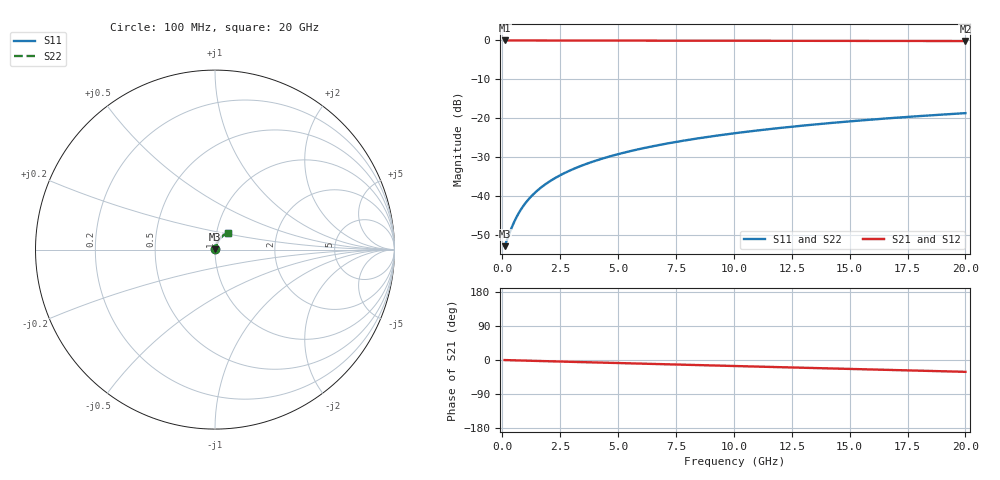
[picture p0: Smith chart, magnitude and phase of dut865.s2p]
! Touchstone file exported from HFSS 2026.1.0
!  File:  C:/ffzhzh/LocalFiles/Ansys_Project_Files/temp_train_TMRDL_865_1783157233_55132.aedt
!  Generated:  05:28:19 PM Jul  4, 2026
!  Design:  TMRDL
!  Project:  temp_train_TMRDL_865_1783157233_55132
! Variables:
!  h_bsmrdl = 2um
!  h_ox = 20um
!  h_rdl = 5um
!  h_sub = 80um
!  h_tmrdl = 4.82um
!  h_tsv = 80um
!  h_via = 3um
!  l_bsmrdl = 300um
!  l_sub = 938.28um
!  l_tmrdl = 538.28um
!  m_sub = 200um
!  pitch = 30.83um
!  r_tsv = 6um
!  s_tmrdl = 10um
!  w_bsmrdl = 18um
!  w_sub = 500um
!  w_tmrdl = 21.97um
!  x_tsv_center1 = 549.265um
!  x_tsv_center2 = 867.265um
!  x_tsv_center3 = 1427.515um
!  x_tsv_center4 = 1745.515um
!  x_tsv_center5 = 2305.765um
!  x_tsv_center6 = 2623.765um
# GHz S MA R 50.000000
! Terminal data exported
! Port[1] = TM_RDL1_1_T1
! Port[2] = TM_RDL1_1_T2
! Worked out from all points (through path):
!   200 points, 100 MHz to 20 GHz, reference 50 ohm
!   highest |S21| = -0.02 dB at 100 MHz (marker M1); lowest = -0.2 dB at 20 GHz (marker M2)
!   group delay of S21, straight-line fit = 4.32 ps
!   lowest |S11| = -52.9 dB at 100 MHz (marker M3), VSWR 1.00, Z = 50.2 + j0.104 ohm
!   |S11| at or under -10 dB: start of sweep to end of sweep
!   |S22| runs from -52.9 to -18.7 dB; largest |S21 - S12| = 4.4e-15
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0.1  0.002275 27.0  0.998 -0.2  0.998 -0.2  0.002275 27.0
! Gamma 0 0 0 0
! Port Impedance 50 0 50 0
0.4  0.003905 54.6  0.9974 -0.7  0.9974 -0.7  0.003896 55.2
0.5  0.004573 59.4  0.9973 -0.8  0.9973 -0.8  0.004573 59.8
0.7  0.005978 65.3  0.9972 -1.2  0.9972 -1.2  0.005992 65.6
0.8  0.006695 67.1  0.9971 -1.3  0.9971 -1.3  0.006714 67.4
1  0.008135 69.6  0.997 -1.6  0.997 -1.6  0.008159 69.8
1.3  0.01028 71.7  0.9968 -2.1  0.9968 -2.1  0.0103 71.8
1.5  0.01169 72.5  0.9967 -2.5  0.9967 -2.5  0.01171 72.5
1.7  0.01309 73.1  0.9966 -2.8  0.9966 -2.8  0.0131 73.0
2.2  0.01651 73.7  0.9962 -3.6  0.9962 -3.6  0.01652 73.7
2.8  0.02052 73.8  0.9957 -4.6  0.9957 -4.6  0.02052 73.8
3.5  0.0251 73.6  0.995 -5.7  0.995 -5.7  0.0251 73.6
4.2  0.02957 73.0  0.9944 -6.8  0.9944 -6.8  0.02957 73.0
5  0.03458 72.2  0.9936 -8.0  0.9936 -8.0  0.03458 72.3
5.9  0.0401 71.2  0.9927 -9.5  0.9927 -9.5  0.0401 71.3
6.8  0.04549 70.2  0.9919 -10.9  0.9919 -10.9  0.0455 70.2
8.3  0.05428 68.4  0.9906 -13.2  0.9906 -13.2  0.05428 68.4
10.1  0.06455 66.1  0.989 -16.0  0.989 -16.0  0.06455 66.2
11.7  0.07345 64.1  0.9877 -18.5  0.9877 -18.5  0.07345 64.1
13.4  0.0827 61.8  0.9863 -21.1  0.9863 -21.1  0.0827 61.9
16.7  0.09998 57.4  0.9836 -26.2  0.9836 -26.2  0.09999 57.4
20  0.1163 52.8  0.9808 -31.2  0.9808 -31.2  0.1163 52.9
